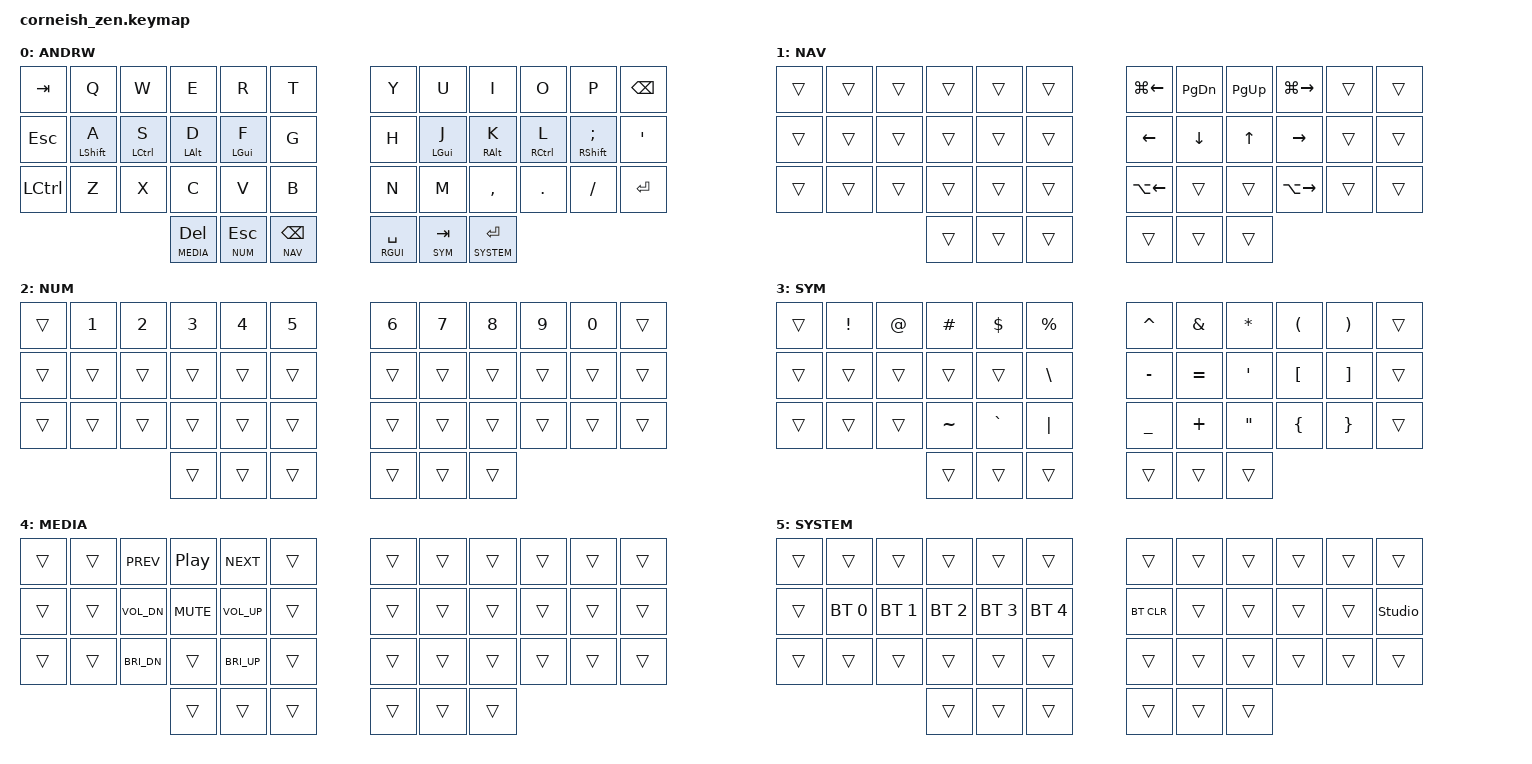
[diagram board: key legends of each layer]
#include <behaviors.dtsi>
#include <dt-bindings/zmk/keys.h>
#include <dt-bindings/zmk/bt.h>

#define AERO 1
#define NAV 2
#define NUM 3
#define SYM 4
#define MEDIA 5
#define SYSTEM 6

/ {
    chosen {
        zmk,physical-layout = &foostan_corne_6col_layout;
        // zmk,physical-layout = &foostan_corne_5col_layout;
    };
};

/ {
    behaviors {
        bhm: balanced_homerow_mods {
            compatible = "zmk,behavior-hold-tap";
            label = "HOMEROW_MODS";
            #binding-cells = <2>;
            tapping-term-ms = <220>;
            quick-tap-ms = <0>;
            flavor = "tap-preferred";
            bindings = <&kp>, <&kp>;
        };

        bhs: balanced_homerow_shift {
            compatible = "zmk,behavior-hold-tap";
            label = "HOMEROW_SHIFT";
            #binding-cells = <2>;
            tapping-term-ms = <180>;
            quick-tap-ms = <0>;
            flavor = "balanced";
            bindings = <&kp>, <&kp>;
        };

        fth: fast_thumb_layer {
            compatible = "zmk,behavior-hold-tap";
            label = "FAST_THUMB_LAYER";
            #binding-cells = <2>;
            tapping-term-ms = <170>;
            quick-tap-ms = <0>;
            flavor = "balanced";
            bindings = <&mo>, <&kp>;
        };

        th: thumb_layer {
            compatible = "zmk,behavior-hold-tap";
            label = "THUMB_LAYER";
            #binding-cells = <2>;
            tapping-term-ms = <190>;
            quick-tap-ms = <150>;
            flavor = "tap-preferred";
            bindings = <&mo>, <&kp>;
        };

        sth: system_thumb_layer {
            compatible = "zmk,behavior-hold-tap";
            label = "SYSTEM_THUMB_LAYER";
            #binding-cells = <2>;
            tapping-term-ms = <320>;
            quick-tap-ms = <0>;
            flavor = "tap-preferred";
            bindings = <&mo>, <&kp>;
        };
    };

    keymap {
        compatible = "zmk,keymap";


        default_layer {
            display-name = "ANDRW";
// --------------------------------------------------------------------------------
// |  TAB |  Q  |  W  |  E  |  R  |  T  |   |  Y  |  U   |  I  |  O  |  P  | BSPC |
// |  ESC |  A  |  S  |  D  |  F  |  G  |   |  H  |  J   |  K  |  L  |  ;  |  '   |
// | CTRL |  Z  |  X  |  C  |  V  |  B  |   |  N  |  M   |  ,  |  .  |  /  | ENT  |
//                    | DEL | ESC | BSPC|   | SPC | TAB | RET |
            bindings = <
&kp TAB   &kp Q &kp W &kp E &kp R &kp T   &kp Y &kp U  &kp I     &kp O   &kp P    &kp BSPC
&kp ESC   &bhs LSHFT A &bhm LCTRL S &bhm LALT D &bhm LGUI F &kp G   &kp H &bhm LGUI J  &bhm RALT K     &bhm RCTRL L   &bhs RSHFT SEMI &kp SQT
&kp LCTRL &kp Z &kp X &kp C &kp V &kp B   &kp N &kp M  &kp COMMA &kp DOT &kp FSLH &kp RET
               &th MEDIA DEL &fth NUM ESC &th NAV BSPC  &th RGUI SPACE &fth SYM TAB &sth SYSTEM RET
            >;
        };

        nav_layer {
            display-name = "NAV";
// -----------------------------------------------------------------------------------------
// |      |     |     |     |     |     |   |LineS| PgDn| PgUp|LineE|     |      |
// |      |     |     |     |     |     |   |Left |Down | Up  |Right|     |      |
// |      |     |     |     |     |     |   |WordL|     |     |WordR|     |      |
//                    |     |     |     |   |     |     |     |
            bindings = <
&trans &trans &trans &trans &trans &trans   &kp LG(LEFT)  &kp PG_DN &kp PG_UP &kp LG(RIGHT) &trans &trans
&trans &trans &trans &trans &trans &trans   &kp LEFT      &kp DOWN  &kp UP    &kp RIGHT     &trans &trans
&trans &trans &trans &trans &trans &trans   &kp LA(LEFT)  &trans    &trans    &kp LA(RIGHT) &trans &trans
                              &trans &trans &trans        &trans    &trans    &trans
            >;
        };

        num_layer {
            display-name = "NUM";
// -----------------------------------------------------------------------------------------
// |      |  1  |  2  |  3  |  4  |  5  |   |  6  |  7  |  8  |  9  |  0  |      |
// |      |     |     |     |     |     |   |     |     |     |     |     |      |
// |      |     |     |     |     |     |   |     |     |     |     |     |      |
//                    |     |     |     |   |     |     |     |
            bindings = <
&trans &kp N1 &kp N2 &kp N3 &kp N4 &kp N5   &kp N6 &kp N7 &kp N8 &kp N9 &kp N0 &trans
&trans &trans &trans &trans &trans &trans   &trans &trans &trans &trans &trans &trans
&trans &trans &trans &trans &trans &trans   &trans &trans &trans &trans &trans &trans
                        &trans &trans &trans  &trans &trans &trans
            >;
        };

        sym_layer {
            display-name = "SYM";
// -----------------------------------------------------------------------------------------
// |      |  !  |  @  |  #  |  $  |  %  |   |  ^  |  &  |  *  |  (  |  )  |      |
// |      |     |     |     |     |  \  |   |  -  |  =  |  '  |  [  |  ]  |      |
// |      |     |     |  ~  |  `  |  |  |   |  _  |  +  |  "  |  {  |  }  |      |
//                    |     |     |     |   |     |     |     |
            bindings = <
&trans &kp EXCL &kp AT &kp HASH &kp DLLR &kp PRCNT   &kp CARET &kp AMPS  &kp ASTRK &kp LPAR &kp RPAR &trans
&trans &trans   &trans &trans   &trans   &kp BSLH    &kp MINUS &kp EQUAL &kp SQT   &kp LBKT &kp RBKT &trans
&trans &trans   &trans &kp TILDE &kp GRAVE &kp PIPE   &kp UNDER &kp PLUS  &kp DQT   &kp LBRC &kp RBRC &trans
                          &trans &trans &trans       &trans    &trans    &trans
            >;
        };

        media_layer {
            display-name = "MEDIA";
// -----------------------------------------------------------------------------------------
// |      |     |Prev |Play |Next |     |   |     |     |     |     |     |      |
// |      |     |Vol- |Mute |Vol+ |     |   |     |     |     |     |     |      |
// |      |     |Bri- |     |Bri+ |     |   |     |     |     |     |     |      |
//                    |     |     |     |   |     |     |     |
            bindings = <
&trans &trans &kp C_PREV   &kp C_PP   &kp C_NEXT   &trans   &trans &trans &trans &trans &trans &trans
&trans &trans &kp C_VOL_DN &kp C_MUTE &kp C_VOL_UP &trans   &trans &trans &trans &trans &trans &trans
&trans &trans &kp C_BRI_DN &trans     &kp C_BRI_UP &trans   &trans &trans &trans &trans &trans &trans
                                  &trans &trans &trans      &trans &trans &trans
            >;
        };

        system_layer {
            display-name = "SYSTEM";
// -----------------------------------------------------------------------------------------
// |      |     |     |     |     |     |   |     |     |     |     |     |      |
// |      | BT1 | BT2 | BT3 | BT4 | BT5 |   |BTCLR|     |     |     |     |Studio|
// |      |     |     |     |     |     |   |     |     |     |     |     |      |
//                    |     |     |     |   |     |     |     |
            bindings = <
&trans &trans       &trans       &trans       &trans       &trans       &trans       &trans &trans &trans &trans &trans
&trans &bt BT_SEL 0 &bt BT_SEL 1 &bt BT_SEL 2 &bt BT_SEL 3 &bt BT_SEL 4 &bt BT_CLR   &trans &trans &trans &trans &studio_unlock
&trans &trans       &trans       &trans       &trans       &trans       &trans       &trans &trans &trans &trans &trans
                                         &trans &trans &trans           &trans       &trans &trans
            >;
        };
    };
};
